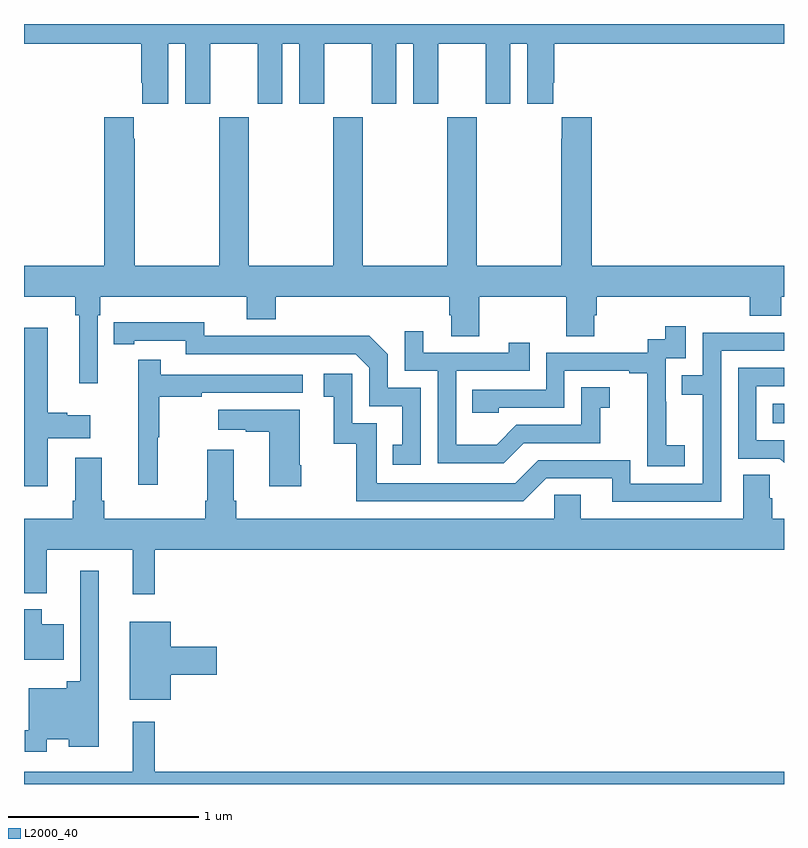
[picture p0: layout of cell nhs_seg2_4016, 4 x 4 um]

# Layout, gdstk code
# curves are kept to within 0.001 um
import gdstk
lib = gdstk.Library(unit=1e-6, precision=1e-09)
def R(c, l, rs):  # rectangles x0, y0, x1, y1
    for r in rs: c.add(gdstk.rectangle(r[:2], r[2:], *l))
def P(c, l, *ps):  # polygons
    for p in ps: c.add(gdstk.Polygon(p, *l))
L2000_40 = (2000, 40)

nhs_seg2_4016 = lib.new_cell('nhs_seg2_4016')
R(nhs_seg2_4016, L2000_40, [(330.94,585.698,331,585.802)])
P(nhs_seg2_4016, L2000_40, [(327.76,587.696),(327.848,587.696),(327.848,587.379),(327.979,587.379),(327.979,587.696),(328.229,587.696),(328.229,587.379),(328.36,587.379),(328.36,587.696),(328.448,587.696),(328.448,587.379),(328.579,587.379),(328.579,587.696),(328.829,587.696),(328.829,587.379),(328.96,587.379),(328.96,587.696),(329.048,587.696),(329.048,587.379),(329.179,587.379),(329.179,587.696),(329.429,587.696),(329.429,587.379),(329.56,587.379),(329.56,587.696),(329.648,587.696),(329.648,587.379),(329.785,587.379),(329.785,587.491),(329.792,587.491),(329.792,587.696),(331,587.696),(331,587.8),(327,587.8),(327,587.696),(327.617,587.696),(327.617,587.491),(327.623,587.491),(327.623,587.379),(327.76,587.379)],
  [(327.387,586.268),(327.401,586.268),(327.401,586.364),(328.172,586.364),(328.172,586.247),(328.325,586.247),(328.325,586.364),(329.237,586.364),(329.237,586.266),(329.249,586.266),(329.249,586.156),(329.397,586.156),(329.397,586.364),(329.854,586.364),(329.854,586.156),(330.001,586.156),(330.001,586.266),(330.014,586.266),(330.014,586.364),(330.821,586.364),(330.821,586.265),(330.986,586.265),(330.986,586.364),(331,586.364),(331,586.528),(329.987,586.528),(329.987,587.308),(329.831,587.308),(329.831,587.195),(329.827,587.195),(329.827,586.528),(329.382,586.528),(329.382,587.308),(329.227,587.308),(329.227,586.528),(328.782,586.528),(328.782,587.308),(328.627,587.308),(328.627,586.528),(328.182,586.528),(328.182,587.308),(328.027,587.308),(328.027,586.528),(327.582,586.528),(327.582,587.195),(327.577,587.195),(327.577,587.308),(327.422,587.308),(327.422,586.528),(327,586.528),(327,586.364),(327.271,586.364),(327.271,586.268),(327.29,586.268),(327.29,585.909),(327.387,585.909)],
  [(329.088,585.885),(328.914,585.885),(328.914,586.062),(328.816,586.16),(328.408,586.16),(328.408,586.158),(327.948,586.158),(327.948,586.231),(327.472,586.23),(327.472,586.114),(327.58,586.114),(327.58,586.134),(327.852,586.134),(327.852,586.062),(328.746,586.062),(328.818,585.99),(328.818,585.789),(328.991,585.789),(328.991,585.585),(328.942,585.585),(328.942,585.48),(329.088,585.48)],
  [(330.478,585.583),(330.38,585.583),(330.38,585.812),(330.378,585.812),(330.378,586.041),(330.483,586.041),(330.483,586.21),(330.375,586.21),(330.375,586.14),(330.282,586.14),(330.282,586.071),(329.748,586.071),(329.748,585.876),(329.359,585.876),(329.359,585.753),(329.499,585.753),(329.499,585.78),(329.844,585.78),(329.844,585.975),(330.185,585.975),(330.185,585.963),(330.281,585.963),(330.281,585.679),(330.28,585.679),(330.28,585.473),(330.478,585.473)],
  [(327.124,585.62),(327.349,585.62),(327.349,585.742),(327.228,585.742),(327.228,585.755),(327.124,585.755),(327.124,586.201),(327,586.201),(327,585.366),(327.124,585.366)],
  [(329.629,585.594),(330.033,585.594),(330.033,585.779),(330.082,585.779),(330.082,585.889),(329.934,585.889),(329.934,585.69),(329.592,585.69),(329.488,585.586),(329.274,585.586),(329.274,585.975),(329.663,585.975),(329.663,586.123),(329.552,586.123),(329.552,586.071),(329.101,586.071),(329.101,586.183),(329.004,586.183),(329.004,585.975),(329.178,585.975),(329.178,585.489),(329.524,585.489)],
  [(330.669,586.08),(331,586.08),(331,586.176),(330.573,586.176),(330.573,585.951),(330.463,585.951),(330.463,585.85),(330.573,585.85),(330.573,585.381),(330.192,585.381),(330.192,585.504),(329.706,585.504),(329.586,585.384),(328.857,585.384),(328.857,585.699),(328.728,585.699),(328.728,585.958),(328.578,585.958),(328.578,585.837),(328.631,585.837),(328.631,585.591),(328.749,585.591),(328.749,585.288),(329.628,585.288),(329.748,585.408),(330.095,585.408),(330.095,585.285),(330.669,585.285)],
  [(327.704,585.624),(327.712,585.624),(327.712,585.838),(327.935,585.838),(327.935,585.858),(328.468,585.858),(328.468,585.954),(327.719,585.954),(327.719,586.033),(327.602,586.033),(327.602,585.761),(327.601,585.761),(327.601,585.375),(327.704,585.375)],
  [(331,585.609),(330.855,585.609),(330.855,585.894),(331,585.894),(331,585.99),(330.759,585.99),(330.759,585.513),(330.978,585.513),(331,585.491)],
  [(328.458,585.478),(328.45,585.478),(328.45,585.769),(328.023,585.769),(328.023,585.665),(328.166,585.665),(328.166,585.655),(328.292,585.655),(328.292,585.366),(328.458,585.366)],
  [(327.689,585.032),(331,585.032),(331,585.196),(330.938,585.196),(330.938,585.305),(330.924,585.305),(330.924,585.428),(330.785,585.428),(330.785,585.196),(329.929,585.196),(329.929,585.323),(329.79,585.323),(329.79,585.196),(328.118,585.196),(328.118,585.292),(328.105,585.292),(328.105,585.559),(327.965,585.559),(327.965,585.292),(327.953,585.292),(327.953,585.196),(327.422,585.196),(327.422,585.292),(327.409,585.292),(327.409,585.517),(327.269,585.517),(327.269,585.292),(327.257,585.292),(327.257,585.196),(327,585.196),(327,585.032),(327.001,585.032),(327.001,584.804),(327.119,584.804),(327.119,585.032),(327.572,585.032),(327.572,584.799),(327.689,584.799)],
  [(327.12,584.036),(327.236,584.036),(327.236,583.997),(327.394,583.997),(327.394,584.923),(327.297,584.923),(327.297,584.341),(327.224,584.341),(327.224,584.305),(327.024,584.305),(327.024,584.083),(327.004,584.083),(327.004,583.971),(327.12,583.971)],
  [(327.208,584.641),(327.094,584.641),(327.094,584.719),(327,584.719),(327,584.453),(327.208,584.453)],
  [(327.772,584.375),(328.015,584.375),(328.015,584.522),(327.772,584.522),(327.772,584.653),(327.557,584.653),(327.557,584.243),(327.772,584.243)],
  [(331,583.864),(327.689,583.864),(327.689,584.128),(327.572,584.128),(327.572,583.864),(327,583.864),(327,583.8),(331,583.8)])

lib.write_gds('nhs_seg2_4016.gds')
